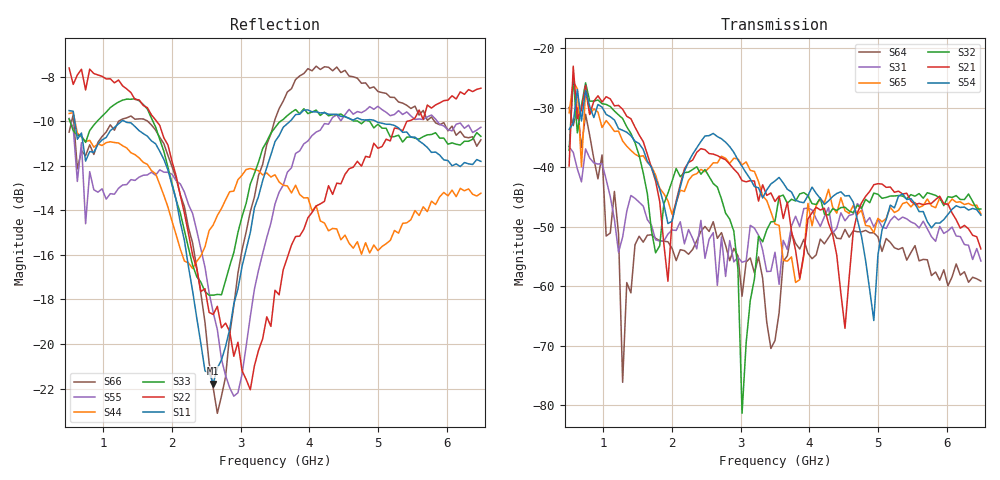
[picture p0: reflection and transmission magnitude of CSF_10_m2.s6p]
!Keysight Technologies,M9804A,MY58100912,A.14.10.03
!Date: Thursday, April 27, 2023 10:28:33
!Correction: S11(C  6-Port  )
!S12(C  6-Port  )
!S13(C  6-Port  )
!S14(C  6-Port  )
!S15(C  6-Port  )
!S16(C  6-Port  )
!S21(C  6-Port  )
!S22(C  6-Port  )
!S23(C  6-Port  )
!S24(C  6-Port  )
!S25(C  6-Port  )
!S26(C  6-Port  )
!S31(C  6-Port  )
!S32(C  6-Port  )
!S33(C  6-Port  )
!S34(C  6-Port  )
!S35(C  6-Port  )
!S36(C  6-Port  )
!S41(C  6-Port  )
!S42(C  6-Port  )
!S43(C  6-Port  )
!S44(C  6-Port  )
!S45(C  6-Port  )
!S46(C  6-Port  )
!S51(C  6-Port  )
!S52(C  6-Port  )
!S53(C  6-Port  )
!S54(C  6-Port  )
!S55(C  6-Port  )
!S56(C  6-Port  )
!S61(C  6-Port  )
!S62(C  6-Port  )
!S63(C  6-Port  )
!S64(C  6-Port  )
!S65(C  6-Port  )
!S66(C  6-Port  )
!S6P File: Measurement: :
# Hz S  RI  R 50
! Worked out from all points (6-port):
!   101 points, 500 MHz to 6.5 GHz, reference 50 ohm
!   strongest paths, dB at 500 MHz, 2 GHz, 3.5 GHz, 5 GHz, 6.5 GHz:
!     S54: -33.6, -49.1, -42.3, -54.8, -48.1
!     S21: -39.8, -49.0, -45.8, -42.8, -53.7
!     S32: -37.2, -42.3, -49.1, -44.6, -47.0
!     S65: -30.9, -47.9, -49.6, -48.6, -47.9
!     S31: -36.6, -50.6, -54.3, -48.7, -55.8
!     S64: -30.0, -53.6, -69.2, -51.7, -59.2
!   lowest |S11| = -21.8 dB at 2.6 GHz (marker M1), VSWR 1.18, Z = 42.7 + j1.96 ohm
!   |S11| at or under -10 dB: 581.3 MHz to 1.265 GHz (684.1 MHz wide, 74.1 % of centre); 1.305 GHz to 3.719 GHz (2.414 GHz wide, 96.1 % of centre); 4.967 GHz to end of sweep
